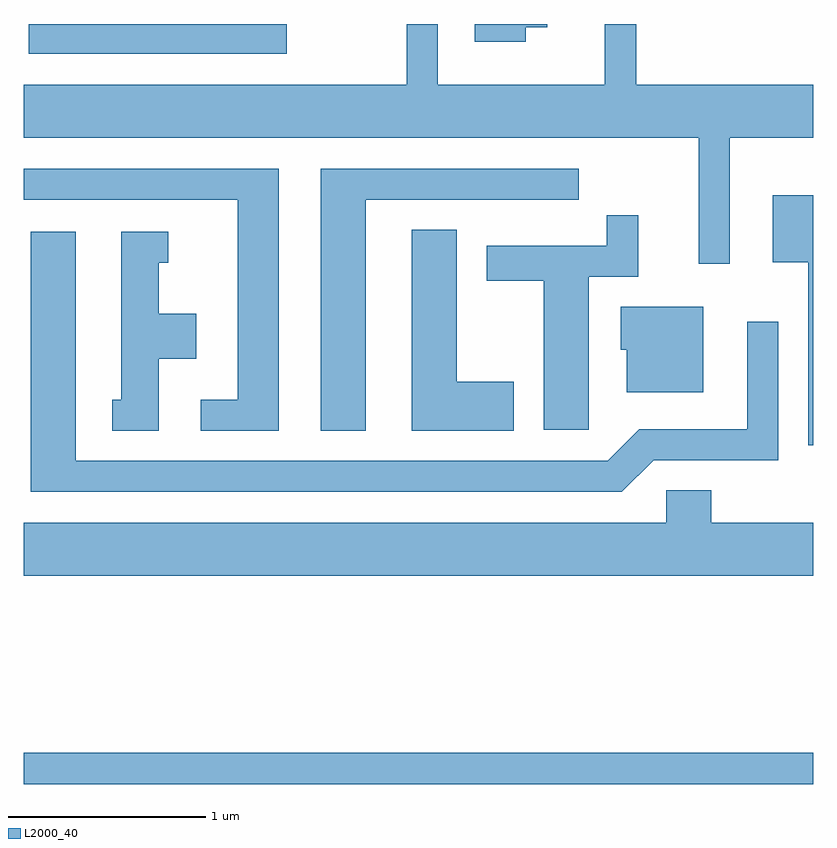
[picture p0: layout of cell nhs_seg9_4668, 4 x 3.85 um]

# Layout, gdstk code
import gdstk
lib = gdstk.Library(unit=1e-6, precision=1e-09)
def R(c, l, rs):  # rectangles x0, y0, x1, y1
    for r in rs: c.add(gdstk.rectangle(r[:2], r[2:], *l))
def P(c, l, *ps):  # polygons
    for p in ps: c.add(gdstk.Polygon(p, *l))
L2000_40 = (2000, 40)

nhs_seg9_4668 = lib.new_cell('nhs_seg9_4668')
R(nhs_seg9_4668, L2000_40, [(323.611,1948.581,327.611,1948.739), (323.636,1952.281,324.943,1952.432)])
P(nhs_seg9_4668, L2000_40, [(327.189,1951.856),(327.611,1951.856),(327.611,1952.124),(326.714,1952.124),(326.714,1952.432),(326.556,1952.432),(326.556,1952.124),(325.709,1952.124),(325.709,1952.432),(325.551,1952.432),(325.551,1952.124),(323.611,1952.124),(323.611,1951.856),(327.031,1951.856),(327.031,1951.218),(327.189,1951.218)],
  [(326.154,1952.416),(326.264,1952.416),(326.264,1952.432),(325.896,1952.432),(325.896,1952.341),(326.154,1952.341)],
  [(324.904,1951.699),(323.611,1951.699),(323.611,1951.541),(324.696,1951.541),(324.696,1950.529),(324.508,1950.529),(324.508,1950.371),(324.904,1950.371)],
  [(325.344,1951.541),(326.423,1951.541),(326.423,1951.699),(325.116,1951.699),(325.116,1950.371),(325.344,1950.371)],
  [(327.611,1951.564),(327.406,1951.564),(327.406,1951.226),(327.586,1951.226),(327.586,1950.298),(327.611,1950.298)],
  [(326.474,1951.151),(326.724,1951.151),(326.724,1951.463),(326.566,1951.463),(326.566,1951.309),(325.956,1951.309),(325.956,1951.131),(326.246,1951.131),(326.246,1950.376),(326.474,1950.376)],
  [(326.094,1950.619),(325.804,1950.619),(325.804,1951.389),(325.576,1951.389),(325.576,1950.371),(326.094,1950.371)],
  [(326.802,1950.221),(327.434,1950.221),(327.434,1950.923),(327.276,1950.923),(327.276,1950.379),(326.729,1950.379),(326.569,1950.219),(323.874,1950.219),(323.874,1951.379),(323.646,1951.379),(323.646,1950.061),(326.642,1950.061)],
  [(324.294,1950.736),(324.484,1950.736),(324.484,1950.964),(324.294,1950.964),(324.294,1951.221),(324.343,1951.221),(324.343,1951.379),(324.106,1951.379),(324.106,1950.529),(324.058,1950.529),(324.058,1950.371),(324.294,1950.371)],
  [(327.054,1950.999),(326.636,1950.999),(326.636,1950.781),(326.666,1950.781),(326.666,1950.566),(327.054,1950.566)],
  [(327.611,1949.904),(327.094,1949.904),(327.094,1950.069),(326.866,1950.069),(326.866,1949.904),(323.611,1949.904),(323.611,1949.636),(327.611,1949.636)])

lib.write_gds('nhs_seg9_4668.gds')
